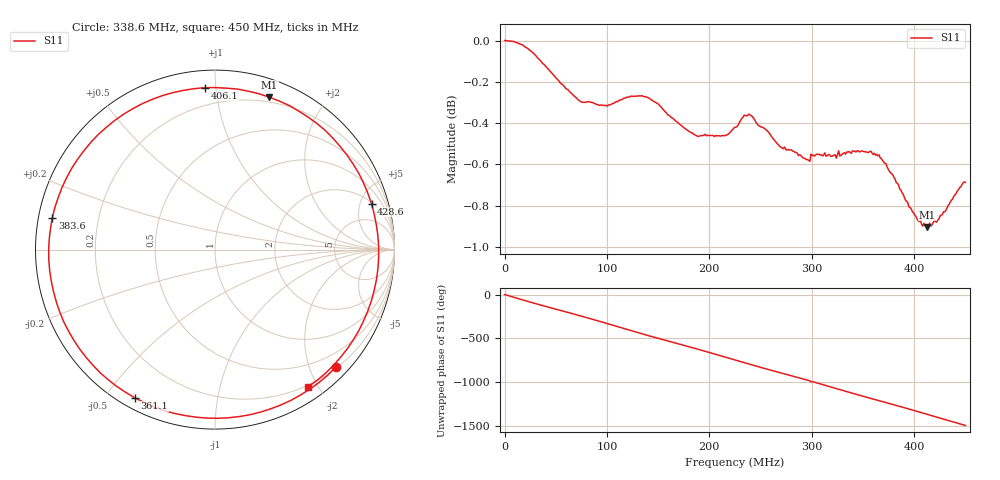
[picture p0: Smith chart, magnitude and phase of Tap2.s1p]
! NanoVNA-App
! Date: 2026-10-05 11:23:16
! Start: 50kHz Stop: 450MHz Points: 401
! S-Parameter data: F S11
# Hz S RI R 50
!  Frequency  S11_Real  S11_Imag
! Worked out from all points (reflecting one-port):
!   401 points, 50 kHz to 450 MHz, reference 50 ohm
!   lowest |S11| = -0.9 dB at 412.9 MHz (marker M1), VSWR 19.25, Z = 7.78 + j70.3 ohm
!   phase of S11 starts at -0 deg and turns -1496 deg over the sweep
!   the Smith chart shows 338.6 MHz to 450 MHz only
!   S11 on the Smith chart (normalised r, x): 338.6 MHz: 0.22, -2.44; 361.1 MHz: 0.04, -0.60; 383.6 MHz: 0.04, +0.10; 406.1 MHz: 0.09, +0.94; 428.6 MHz: 2.12, +6.25; 450 MHz: 0.18, -1.86
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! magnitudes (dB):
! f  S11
! 50 kHz  0.0
! 23.67 MHz  0.0
! 56.29 MHz  -0.2
! 75.42 MHz  -0.3
! 97.91 MHz  -0.3
! 112.5 MHz  -0.3
! 124.9 MHz  -0.3
! 139.5 MHz  -0.3
! 168.8 MHz  -0.4
! 189 MHz  -0.5
! 214.9 MHz  -0.5
! 225 MHz  -0.4
! 232.9 MHz  -0.4
! 239.6 MHz  -0.4
! 268.9 MHz  -0.5
! 281.3 MHz  -0.5
! 295.9 MHz  -0.6
! 301.5 MHz  -0.6
! 337.5 MHz  -0.5
! 338.6 MHz  -0.5
! 361.1 MHz  -0.5
! 370.1 MHz  -0.6
! 383.6 MHz  -0.7
! 393.8 MHz  -0.8
! 406.1 MHz  -0.9
! 412.9 MHz  -0.9
! 428.6 MHz  -0.8
! 450 MHz  -0.7
